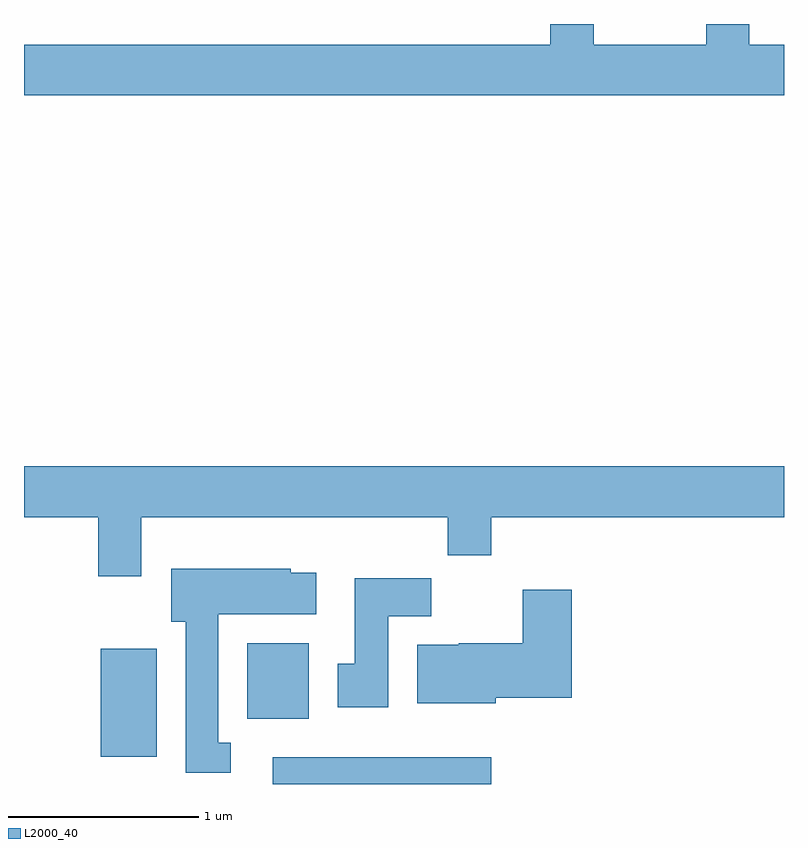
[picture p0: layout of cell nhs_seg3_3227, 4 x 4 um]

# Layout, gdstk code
import gdstk
lib = gdstk.Library(unit=1e-6, precision=1e-09)
def R(c, l, rs):  # rectangles x0, y0, x1, y1
    for r in rs: c.add(gdstk.rectangle(r[:2], r[2:], *l))
def P(c, l, *ps):  # polygons
    for p in ps: c.add(gdstk.Polygon(p, *l))
L2000_40 = (2000, 40)

nhs_seg3_3227 = lib.new_cell('nhs_seg3_3227')
R(nhs_seg3_3227, L2000_40, [(280.921,1177.892,282.069,1178.034), (280.016,1178.036,280.309,1178.604), (280.786,1178.236,281.109,1178.634)])
P(nhs_seg3_3227, L2000_40, [(283.611,1181.784),(283.429,1181.784),(283.429,1181.892),(283.201,1181.892),(283.201,1181.784),(282.609,1181.784),(282.609,1181.892),(282.381,1181.892),(282.381,1181.784),(279.611,1181.784),(279.611,1181.516),(283.611,1181.516)],
  [(280.229,1179.296),(281.841,1179.296),(281.841,1179.096),(282.069,1179.096),(282.069,1179.296),(283.611,1179.296),(283.611,1179.564),(279.611,1179.564),(279.611,1179.296),(280.001,1179.296),(280.001,1178.986),(280.229,1178.986)],
  [(280.698,1178.109),(280.634,1178.109),(280.634,1178.786),(281.149,1178.786),(281.149,1179.004),(281.014,1179.004),(281.014,1179.024),(280.386,1179.024),(280.386,1178.746),(280.461,1178.746),(280.461,1177.951),(280.698,1177.951)],
  [(281.529,1178.776),(281.754,1178.776),(281.754,1178.974),(281.351,1178.974),(281.351,1178.524),(281.261,1178.524),(281.261,1178.296),(281.529,1178.296)],
  [(282.094,1178.346),(282.494,1178.346),(282.494,1178.914),(282.236,1178.914),(282.236,1178.634),(281.9,1178.634),(281.9,1178.624),(281.681,1178.624),(281.681,1178.316),(282.094,1178.316)])

lib.write_gds('nhs_seg3_3227.gds')
